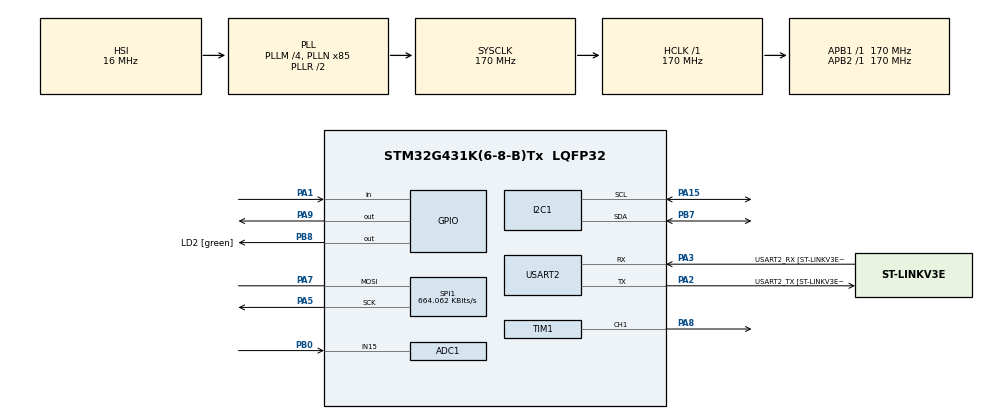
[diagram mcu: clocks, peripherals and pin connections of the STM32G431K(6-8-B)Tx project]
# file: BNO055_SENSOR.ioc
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ADC1.Channel-0\#ChannelRegularConversion=ADC_CHANNEL_15
ADC1.NbrOfConversionFlag=1
ADC1.OffsetNumber-0\#ChannelRegularConversion=ADC_OFFSET_NONE
ADC1.Rank-0\#ChannelRegularConversion=1
ADC1.SamplingTime-0\#ChannelRegularConversion=ADC_SAMPLETIME_2CYCLES_5
ADC1.master=1
I2C1.Speed=100
I2C1.Timing=0x30A0A7FB
Mcu.Family=STM32G4
Mcu.Name=STM32G431K(6-8-B)Tx
Mcu.Package=LQFP32
NVIC.PriorityGroup=NVIC_PRIORITYGROUP_4
PA1.Signal=GPIO_Input
PA13.GPIO_Label=T_SWDIO
PA13.Mode=Serial_Wire
PA13.Signal=SYS_JTMS-SWDIO
PA14.GPIO_Label=T_SWCLK
PA14.Mode=Serial_Wire
PA14.Signal=SYS_JTCK-SWCLK
PA15.GPIO_Pu=GPIO_NOPULL
PA15.Mode=I2C
PA15.Signal=I2C1_SCL
PA2.GPIO_Label=USART2_TX [ST-LINKV3E_VCP_RX]
PA2.Mode=Asynchronous
PA2.Signal=USART2_TX
PA3.GPIO_Label=USART2_RX [ST-LINKV3E_VCP_TX]
PA3.Mode=Asynchronous
PA3.Signal=USART2_RX
PA5.Mode=Simplex_Bidirectional_Master
PA5.Signal=SPI1_SCK
PA7.Mode=Simplex_Bidirectional_Master
PA7.Signal=SPI1_MOSI
PA8.Signal=S_TIM1_CH1
PA9.Signal=GPIO_Output
PB0.Mode=IN15-Single-Ended
PB0.Signal=ADC1_IN15
PB3.GPIO_Label=T_SWO
PB3.Signal=SYS_JTDO-SWO
PB7.Mode=I2C
PB7.Signal=I2C1_SDA
PB8-BOOT0.GPIO_Label=LD2 [green]
PB8-BOOT0.Signal=GPIO_Output
ProjectManager.HeapSize=0x200
ProjectManager.StackSize=0x400
ProjectManager.TargetToolchain=STM32CubeIDE
RCC.ADC12Freq_Value=170000000
RCC.AHBFreq_Value=170000000
RCC.APB1Freq_Value=170000000
RCC.APB1TimFreq_Value=170000000
RCC.APB2Freq_Value=170000000
RCC.APB2TimFreq_Value=170000000
RCC.CortexFreq_Value=170000000
RCC.EXTERNAL_CLOCK_VALUE=12288000
RCC.HCLKFreq_Value=170000000
RCC.HSE_VALUE=8000000
RCC.HSI48_VALUE=48000000
RCC.HSI_VALUE=16000000
RCC.LSE_VALUE=32768
RCC.PLLM=RCC_PLLM_DIV4
RCC.PLLN=85
RCC.SYSCLKFreq_VALUE=170000000
RCC.SYSCLKSource=RCC_SYSCLKSOURCE_PLLCLK
RCC.USBFreq_Value=170000000
RCC.VCOOutputFreq_Value=340000000
SH.S_TIM1_CH1.0=TIM1_CH1,PWM Generation1 CH1
SPI1.BaudRatePrescaler=SPI_BAUDRATEPRESCALER_256
SPI1.CalculateBaudRate=664.062 KBits/s
SPI1.DataSize=SPI_DATASIZE_8BIT
SPI1.Direction=SPI_DIRECTION_1LINE
SPI1.Mode=SPI_MODE_MASTER
SPI1.VirtualType=VM_MASTER
TIM1.Channel-PWM\ Generation1\ CH1=TIM_CHANNEL_1
TIM1.PeriodNoDither=1000
TIM2.Prescaler=1700
USART2.VirtualMode-Asynchronous=VM_ASYNC
USART2.WordLength=WORDLENGTH_8B
VP_TIM1_VS_ClockSourceINT.Mode=Internal
VP_TIM2_VS_ClockSourceINT.Mode=Internal
board=NUCLEO-G431KB

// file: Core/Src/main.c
/* USER CODE BEGIN Header */
/**
  ******************************************************************************
  * @file           : main.c
  * @brief          : Main program body
  ******************************************************************************
  * @attention
  *
  * Copyright (c) 2023 STMicroelectronics.
  * All rights reserved.
  *
  * This software is licensed under terms that can be found in the LICENSE file
  * in the root directory of this software component.
  * If no LICENSE file comes with this software, it is provided AS-IS.
  *
  ******************************************************************************
  */
/* USER CODE END Header */
#include "main.h"

/* USER CODE BEGIN Includes */
#include <string.h>
#include <stdio.h>
#include <math.h>
#include <stdlib.h>

/* USER CODE END Includes */

/* USER CODE BEGIN PD */
#define IIS2_ADDR 0x1E
#define OUTX_L 0x68
#define OUTY_L 0x6A
#define OUTZ_L 0x6C
#define CFG_REG_A 0x60
#define CFG_REG_B 0x61
#define CFG_REG_C 0x62

#define BNO055_ADDR 0x29<<1 // PULL ADR HIGH
#define BNO055_ACCEL_X 0x08
#define BNO055_ACCEL_Y 0x0a
#define BNO055_ACCEL_Z 0x0c
#define BNO055_MAG_X 0x0e
#define BNO055_MAG_Y 0x10
#define BNO055_MAG_Z 0x12
#define BNO055_GYRO_X 0x14
#define BNO055_GYRO_Y 0x16
#define BNO055_GYRO_Z 0x18
/* USER CODE END PD */

ADC_HandleTypeDef hadc1;

I2C_HandleTypeDef hi2c1;

SPI_HandleTypeDef hspi1;

TIM_HandleTypeDef htim1;
TIM_HandleTypeDef htim2;

UART_HandleTypeDef huart2;

void SystemClock_Config(void);
static void MX_GPIO_Init(void);
static void MX_USART2_UART_Init(void);
static void MX_I2C1_Init(void);
static void MX_ADC1_Init(void);
static void MX_TIM1_Init(void);
static void MX_TIM2_Init(void);
static void MX_SPI1_Init(void);
/* USER CODE BEGIN PFP */
void UART_PRINT_VAL(double value);
void UART_PRINT_TEXT(uint8_t* MSG);
void IIS2_INIT(void);
int IIS2_GET_DATA(uint8_t addr, uint16_t dataSize);
void MAGNETORQUER_SET_PWM(int val, int dir);
void BNO055_INIT(void);
int BNO055_GET_DATA(uint8_t addr, uint16_t dataSize);
/* USER CODE END PFP */

int main(void)
{

  /* MCU Configuration--------------------------------------------------------*/

  /* Reset of all peripherals, Initializes the Flash interface and the Systick. */
  HAL_Init();

  /* Configure the system clock */
  SystemClock_Config();

  /* Initialize all configured peripherals */
  MX_GPIO_Init();
  MX_USART2_UART_Init();
  MX_I2C1_Init();
  MX_ADC1_Init();
  MX_TIM1_Init();
  MX_TIM2_Init();
  MX_SPI1_Init();
  /* USER CODE BEGIN 2 */
  	int pwm_val = 500;
  	uint32_t adc1_val;
  	double adc1_value;

  	int xMag = 0;
  	int yMag = 0;
  	int zMag = 0;
  	double xMagRef = 0;
  	double yMagRef = 0;
  	double zMagRef = 0;

  	int BNOxAccel = 0;
  	int BNOyAccel = 0;
  	int BNOzAccel = 0;
  	int BNOxMag = 0;
  	int BNOyMag = 0;
  	int BNOzMag = 0;
  	int BNOxGyro = 0;
  	int BNOyGyro = 0;
  	int BNOzGyro = 0;
  	double BNOxAccelRef = 0;
  	double BNOyAccelRef = 0;
  	double BNOzAccelRef = 0;
  	double BNOxMagRef = 0;
  	double BNOyMagRef = 0;
  	double BNOzMagRef = 0;
  	double BNOxGyroRef = 0;
  	double BNOyGyroRef = 0;
  	double BNOzGyroRef = 0;

  	HAL_TIM_PWM_Start(&htim1, TIM_CHANNEL_1);
  	TIM1->CCR1 = 500;
  	HAL_TIM_Base_Start(&htim2);

  	//IIS2_INIT();
  	BNO055_INIT();

  	int counter = 0;

  	int excessTime = 0;
  	double currentTime = 0;

  	double IPROPI_res_value = 50;
  /* USER CODE END 2 */

  /* Infinite loop */
  /* USER CODE BEGIN WHILE */
  while (1)
  {
	  BNO055_INIT();
	  BNOxAccel = BNO055_GET_DATA(BNO055_ACCEL_X, 2);
	  BNOyAccel = BNO055_GET_DATA(BNO055_ACCEL_Y, 2);
	  BNOzAccel = BNO055_GET_DATA(BNO055_ACCEL_Z, 2);
	  BNOxMag = BNO055_GET_DATA(BNO055_MAG_X, 2);
	  BNOyMag = BNO055_GET_DATA(BNO055_MAG_Y, 2);
	  BNOzMag = BNO055_GET_DATA(BNO055_MAG_Z, 2);
	  BNOxGyro = BNO055_GET_DATA(BNO055_GYRO_X, 2);
	  BNOyGyro = BNO055_GET_DATA(BNO055_GYRO_Y, 2);
	  BNOzGyro = BNO055_GET_DATA(BNO055_GYRO_Z, 2);
	  BNOxAccelRef = BNOxAccel;
	  BNOyAccelRef = BNOyAccel;
	  BNOzAccelRef = BNOzAccel;
	  BNOxMagRef = BNOxMag;
	  BNOyMagRef = BNOyMag;
	  BNOzMagRef = BNOzMag;
	  BNOxGyroRef = BNOxGyro;
	  BNOyGyroRef = BNOyGyro;
	  BNOzGyroRef = BNOzGyro;
	  UART_PRINT_TEXT("Accelerometer: (");
	  UART_PRINT_VAL(BNOxAccelRef);
	  UART_PRINT_TEXT(", ");
	  UART_PRINT_VAL(BNOyAccelRef);
	  UART_PRINT_TEXT(", ");
	  UART_PRINT_VAL(BNOzAccelRef);
	  UART_PRINT_TEXT(" )\nMagnetometer: (");
	  UART_PRINT_VAL(BNOxMagRef);
	  UART_PRINT_TEXT(", ");
	  UART_PRINT_VAL(BNOyMagRef);
	  UART_PRINT_TEXT(", ");
	  UART_PRINT_VAL(BNOzMagRef);
	  UART_PRINT_TEXT(" )\nGyro: (");
	  UART_PRINT_VAL(BNOxGyroRef);
	  UART_PRINT_TEXT(", ");
	  UART_PRINT_VAL(BNOyGyroRef);
	  UART_PRINT_TEXT(", ");
	  UART_PRINT_VAL(BNOzGyroRef);
	  UART_PRINT_TEXT(" )\n");
	  HAL_Delay(100);

    /* USER CODE END WHILE */

  }
}

void SystemClock_Config(void)
{
  RCC_OscInitTypeDef RCC_OscInitStruct = {0};
  RCC_ClkInitTypeDef RCC_ClkInitStruct = {0};

  /** Configure the main internal regulator output voltage
  */
  HAL_PWREx_ControlVoltageScaling(PWR_REGULATOR_VOLTAGE_SCALE1_BOOST);

  /** Initializes the RCC Oscillators according to the specified parameters
  * in the RCC_OscInitTypeDef structure.
  */
  RCC_OscInitStruct.OscillatorType = RCC_OSCILLATORTYPE_HSI;
  RCC_OscInitStruct.HSIState = RCC_HSI_ON;
  RCC_OscInitStruct.HSICalibrationValue = RCC_HSICALIBRATION_DEFAULT;
  RCC_OscInitStruct.PLL.PLLState = RCC_PLL_ON;
  RCC_OscInitStruct.PLL.PLLSource = RCC_PLLSOURCE_HSI;
  RCC_OscInitStruct.PLL.PLLM = RCC_PLLM_DIV4;
  RCC_OscInitStruct.PLL.PLLN = 85;
  RCC_OscInitStruct.PLL.PLLP = RCC_PLLP_DIV2;
  RCC_OscInitStruct.PLL.PLLQ = RCC_PLLQ_DIV2;
  RCC_OscInitStruct.PLL.PLLR = RCC_PLLR_DIV2;
  if (HAL_RCC_OscConfig(&RCC_OscInitStruct) != HAL_OK)
  {
    Error_Handler();
  }

  /** Initializes the CPU, AHB and APB buses clocks
  */
  RCC_ClkInitStruct.ClockType = RCC_CLOCKTYPE_HCLK|RCC_CLOCKTYPE_SYSCLK
                              |RCC_CLOCKTYPE_PCLK1|RCC_CLOCKTYPE_PCLK2;
  RCC_ClkInitStruct.SYSCLKSource = RCC_SYSCLKSOURCE_PLLCLK;
  RCC_ClkInitStruct.AHBCLKDivider = RCC_SYSCLK_DIV1;
  RCC_ClkInitStruct.APB1CLKDivider = RCC_HCLK_DIV1;
  RCC_ClkInitStruct.APB2CLKDivider = RCC_HCLK_DIV1;

  if (HAL_RCC_ClockConfig(&RCC_ClkInitStruct, FLASH_LATENCY_4) != HAL_OK)
  {
    Error_Handler();
  }
}

static void MX_ADC1_Init(void)
{

  ADC_MultiModeTypeDef multimode = {0};
  ADC_ChannelConfTypeDef sConfig = {0};

  /** Common config
  */
  hadc1.Instance = ADC1;
  hadc1.Init.ClockPrescaler = ADC_CLOCK_SYNC_PCLK_DIV4;
  hadc1.Init.Resolution = ADC_RESOLUTION_12B;
  hadc1.Init.DataAlign = ADC_DATAALIGN_RIGHT;
  hadc1.Init.GainCompensation = 0;
  hadc1.Init.ScanConvMode = ADC_SCAN_DISABLE;
  hadc1.Init.EOCSelection = ADC_EOC_SINGLE_CONV;
  hadc1.Init.LowPowerAutoWait = DISABLE;
  hadc1.Init.ContinuousConvMode = DISABLE;
  hadc1.Init.NbrOfConversion = 1;
  hadc1.Init.DiscontinuousConvMode = DISABLE;
  hadc1.Init.ExternalTrigConv = ADC_SOFTWARE_START;
  hadc1.Init.ExternalTrigConvEdge = ADC_EXTERNALTRIGCONVEDGE_NONE;
  hadc1.Init.DMAContinuousRequests = DISABLE;
  hadc1.Init.Overrun = ADC_OVR_DATA_PRESERVED;
  hadc1.Init.OversamplingMode = DISABLE;
  if (HAL_ADC_Init(&hadc1) != HAL_OK)
  {
    Error_Handler();
  }

  /** Configure the ADC multi-mode
  */
  multimode.Mode = ADC_MODE_INDEPENDENT;
  if (HAL_ADCEx_MultiModeConfigChannel(&hadc1, &multimode) != HAL_OK)
  {
    Error_Handler();
  }

  /** Configure Regular Channel
  */
  sConfig.Channel = ADC_CHANNEL_15;
  sConfig.Rank = ADC_REGULAR_RANK_1;
  sConfig.SamplingTime = ADC_SAMPLETIME_2CYCLES_5;
  sConfig.SingleDiff = ADC_SINGLE_ENDED;
  sConfig.OffsetNumber = ADC_OFFSET_NONE;
  sConfig.Offset = 0;
  if (HAL_ADC_ConfigChannel(&hadc1, &sConfig) != HAL_OK)
  {
    Error_Handler();
  }

}

static void MX_I2C1_Init(void)
{

  hi2c1.Instance = I2C1;
  hi2c1.Init.Timing = 0x30A0A7FB;
  hi2c1.Init.OwnAddress1 = 0;
  hi2c1.Init.AddressingMode = I2C_ADDRESSINGMODE_7BIT;
  hi2c1.Init.DualAddressMode = I2C_DUALADDRESS_DISABLE;
  hi2c1.Init.OwnAddress2 = 0;
  hi2c1.Init.OwnAddress2Masks = I2C_OA2_NOMASK;
  hi2c1.Init.GeneralCallMode = I2C_GENERALCALL_DISABLE;
  hi2c1.Init.NoStretchMode = I2C_NOSTRETCH_DISABLE;
  if (HAL_I2C_Init(&hi2c1) != HAL_OK)
  {
    Error_Handler();
  }

  /** Configure Analogue filter
  */
  if (HAL_I2CEx_ConfigAnalogFilter(&hi2c1, I2C_ANALOGFILTER_ENABLE) != HAL_OK)
  {
    Error_Handler();
  }

  /** Configure Digital filter
  */
  if (HAL_I2CEx_ConfigDigitalFilter(&hi2c1, 0) != HAL_OK)
  {
    Error_Handler();
  }

}

static void MX_SPI1_Init(void)
{

  /* SPI1 parameter configuration*/
  hspi1.Instance = SPI1;
  hspi1.Init.Mode = SPI_MODE_MASTER;
  hspi1.Init.Direction = SPI_DIRECTION_1LINE;
  hspi1.Init.DataSize = SPI_DATASIZE_8BIT;
  hspi1.Init.CLKPolarity = SPI_POLARITY_LOW;
  hspi1.Init.CLKPhase = SPI_PHASE_1EDGE;
  hspi1.Init.NSS = SPI_NSS_SOFT;
  hspi1.Init.BaudRatePrescaler = SPI_BAUDRATEPRESCALER_256;
  hspi1.Init.FirstBit = SPI_FIRSTBIT_MSB;
  hspi1.Init.TIMode = SPI_TIMODE_DISABLE;
  hspi1.Init.CRCCalculation = SPI_CRCCALCULATION_DISABLE;
  hspi1.Init.CRCPolynomial = 7;
  hspi1.Init.CRCLength = SPI_CRC_LENGTH_DATASIZE;
  hspi1.Init.NSSPMode = SPI_NSS_PULSE_ENABLE;
  if (HAL_SPI_Init(&hspi1) != HAL_OK)
  {
    Error_Handler();
  }

}

static void MX_TIM1_Init(void)
{

  TIM_ClockConfigTypeDef sClockSourceConfig = {0};
  TIM_MasterConfigTypeDef sMasterConfig = {0};
  TIM_OC_InitTypeDef sConfigOC = {0};
  TIM_BreakDeadTimeConfigTypeDef sBreakDeadTimeConfig = {0};

  htim1.Instance = TIM1;
  htim1.Init.Prescaler = 0;
  htim1.Init.CounterMode = TIM_COUNTERMODE_UP;
  htim1.Init.Period = 1000;
  htim1.Init.ClockDivision = TIM_CLOCKDIVISION_DIV1;
  htim1.Init.RepetitionCounter = 0;
  htim1.Init.AutoReloadPreload = TIM_AUTORELOAD_PRELOAD_DISABLE;
  if (HAL_TIM_Base_Init(&htim1) != HAL_OK)
  {
    Error_Handler();
  }
  sClockSourceConfig.ClockSource = TIM_CLOCKSOURCE_INTERNAL;
  if (HAL_TIM_ConfigClockSource(&htim1, &sClockSourceConfig) != HAL_OK)
  {
    Error_Handler();
  }
  if (HAL_TIM_PWM_Init(&htim1) != HAL_OK)
  {
    Error_Handler();
  }
  sMasterConfig.MasterOutputTrigger = TIM_TRGO_RESET;
  sMasterConfig.MasterOutputTrigger2 = TIM_TRGO2_RESET;
  sMasterConfig.MasterSlaveMode = TIM_MASTERSLAVEMODE_DISABLE;
  if (HAL_TIMEx_MasterConfigSynchronization(&htim1, &sMasterConfig) != HAL_OK)
  {
    Error_Handler();
  }
  sConfigOC.OCMode = TIM_OCMODE_PWM1;
  sConfigOC.Pulse = 0;
  sConfigOC.OCPolarity = TIM_OCPOLARITY_HIGH;
  sConfigOC.OCNPolarity = TIM_OCNPOLARITY_HIGH;
  sConfigOC.OCFastMode = TIM_OCFAST_DISABLE;
  sConfigOC.OCIdleState = TIM_OCIDLESTATE_RESET;
  sConfigOC.OCNIdleState = TIM_OCNIDLESTATE_RESET;
  if (HAL_TIM_PWM_ConfigChannel(&htim1, &sConfigOC, TIM_CHANNEL_1) != HAL_OK)
  {
    Error_Handler();
  }
  sBreakDeadTimeConfig.OffStateRunMode = TIM_OSSR_DISABLE;
  sBreakDeadTimeConfig.OffStateIDLEMode = TIM_OSSI_DISABLE;
  sBreakDeadTimeConfig.LockLevel = TIM_LOCKLEVEL_OFF;
  sBreakDeadTimeConfig.DeadTime = 0;
  sBreakDeadTimeConfig.BreakState = TIM_BREAK_DISABLE;
  sBreakDeadTimeConfig.BreakPolarity = TIM_BREAKPOLARITY_HIGH;
  sBreakDeadTimeConfig.BreakFilter = 0;
  sBreakDeadTimeConfig.BreakAFMode = TIM_BREAK_AFMODE_INPUT;
  sBreakDeadTimeConfig.Break2State = TIM_BREAK2_DISABLE;
  sBreakDeadTimeConfig.Break2Polarity = TIM_BREAK2POLARITY_HIGH;
  sBreakDeadTimeConfig.Break2Filter = 0;
  sBreakDeadTimeConfig.Break2AFMode = TIM_BREAK_AFMODE_INPUT;
  sBreakDeadTimeConfig.AutomaticOutput = TIM_AUTOMATICOUTPUT_DISABLE;
  if (HAL_TIMEx_ConfigBreakDeadTime(&htim1, &sBreakDeadTimeConfig) != HAL_OK)
  {
    Error_Handler();
  }
  HAL_TIM_MspPostInit(&htim1);

}

static void MX_TIM2_Init(void)
{

  TIM_ClockConfigTypeDef sClockSourceConfig = {0};
  TIM_MasterConfigTypeDef sMasterConfig = {0};

  htim2.Instance = TIM2;
  htim2.Init.Prescaler = 1700;
  htim2.Init.CounterMode = TIM_COUNTERMODE_UP;
  htim2.Init.Period = 4.294967295E9;
  htim2.Init.ClockDivision = TIM_CLOCKDIVISION_DIV1;
  htim2.Init.AutoReloadPreload = TIM_AUTORELOAD_PRELOAD_DISABLE;
  if (HAL_TIM_Base_Init(&htim2) != HAL_OK)
  {
    Error_Handler();
  }
  sClockSourceConfig.ClockSource = TIM_CLOCKSOURCE_INTERNAL;
  if (HAL_TIM_ConfigClockSource(&htim2, &sClockSourceConfig) != HAL_OK)
  {
    Error_Handler();
  }
  sMasterConfig.MasterOutputTrigger = TIM_TRGO_RESET;
  sMasterConfig.MasterSlaveMode = TIM_MASTERSLAVEMODE_DISABLE;
  if (HAL_TIMEx_MasterConfigSynchronization(&htim2, &sMasterConfig) != HAL_OK)
  {
    Error_Handler();
  }

}

static void MX_USART2_UART_Init(void)
{

  huart2.Instance = USART2;
  huart2.Init.BaudRate = 115200;
  huart2.Init.WordLength = UART_WORDLENGTH_8B;
  huart2.Init.StopBits = UART_STOPBITS_1;
  huart2.Init.Parity = UART_PARITY_NONE;
  huart2.Init.Mode = UART_MODE_TX_RX;
  huart2.Init.HwFlowCtl = UART_HWCONTROL_NONE;
  huart2.Init.OverSampling = UART_OVERSAMPLING_16;
  huart2.Init.OneBitSampling = UART_ONE_BIT_SAMPLE_DISABLE;
  huart2.Init.ClockPrescaler = UART_PRESCALER_DIV1;
  huart2.AdvancedInit.AdvFeatureInit = UART_ADVFEATURE_NO_INIT;
  if (HAL_UART_Init(&huart2) != HAL_OK)
  {
    Error_Handler();
  }
  if (HAL_UARTEx_SetTxFifoThreshold(&huart2, UART_TXFIFO_THRESHOLD_1_8) != HAL_OK)
  {
    Error_Handler();
  }
  if (HAL_UARTEx_SetRxFifoThreshold(&huart2, UART_RXFIFO_THRESHOLD_1_8) != HAL_OK)
  {
    Error_Handler();
  }
  if (HAL_UARTEx_DisableFifoMode(&huart2) != HAL_OK)
  {
    Error_Handler();
  }

}

static void MX_GPIO_Init(void)
{
  GPIO_InitTypeDef GPIO_InitStruct = {0};

  /* GPIO Ports Clock Enable */
  __HAL_RCC_GPIOA_CLK_ENABLE();
  __HAL_RCC_GPIOB_CLK_ENABLE();

  /*Configure GPIO pin Output Level */
  HAL_GPIO_WritePin(GPIOA, GPIO_PIN_9, GPIO_PIN_RESET);

  /*Configure GPIO pin Output Level */
  HAL_GPIO_WritePin(LD2_GPIO_Port, LD2_Pin, GPIO_PIN_RESET);

  /*Configure GPIO pin : PA1 */
  GPIO_InitStruct.Pin = GPIO_PIN_1;
  GPIO_InitStruct.Mode = GPIO_MODE_INPUT;
  GPIO_InitStruct.Pull = GPIO_NOPULL;
  HAL_GPIO_Init(GPIOA, &GPIO_InitStruct);

  /*Configure GPIO pin : PA9 */
  GPIO_InitStruct.Pin = GPIO_PIN_9;
  GPIO_InitStruct.Mode = GPIO_MODE_OUTPUT_PP;
  GPIO_InitStruct.Pull = GPIO_NOPULL;
  GPIO_InitStruct.Speed = GPIO_SPEED_FREQ_LOW;
  HAL_GPIO_Init(GPIOA, &GPIO_InitStruct);

  /*Configure GPIO pin : LD2_Pin */
  GPIO_InitStruct.Pin = LD2_Pin;
  GPIO_InitStruct.Mode = GPIO_MODE_OUTPUT_PP;
  GPIO_InitStruct.Pull = GPIO_NOPULL;
  GPIO_InitStruct.Speed = GPIO_SPEED_FREQ_LOW;
  HAL_GPIO_Init(LD2_GPIO_Port, &GPIO_InitStruct);

}

/* USER CODE BEGIN 4 */
void UART_PRINT_VAL(double value){
    char total[50];
    char temp[10];
    if(value < 0){
       UART_PRINT_TEXT("-");
    }
    sprintf(total, "%i", abs((int)value));
    strcat(total, ".");
    double currentVal = (value - (int) value);
    for(int a=0;a<6;a++){
        currentVal *= 10;
        sprintf(temp, "%i", abs((int)currentVal));
        strcat(total, temp);
        currentVal -= (int)currentVal;
    }
    HAL_UART_Transmit(&huart2, total, strlen(total), 100);
}
void UART_PRINT_TEXT(uint8_t* MSG){
	HAL_UART_Transmit(&huart2, MSG, strlen(MSG), 100);
}
void MAGNETORQUER_SET_PWM(int val, int dir){
	if(dir){
		HAL_GPIO_WritePin(GPIOA, GPIO_PIN_9, GPIO_PIN_SET);
	}
	else{
		HAL_GPIO_WritePin(GPIOA, GPIO_PIN_9, GPIO_PIN_RESET);
	}
	__HAL_TIM_SET_COMPARE(&htim1, TIM_CHANNEL_1, val);
}
void IIS2_INIT(void){
	//uint8_t data[3] = {0x8C, 0x01, 0x01}; // OPERATION MODE, TEM COMP 100Hz CONTINUOUS MODE, ENABLE LPF, DATA READY INT
	uint8_t data1[2] = {CFG_REG_A, 0x8c};
	uint8_t data2[2] = {CFG_REG_B, 0x01};
	uint8_t data3[2] = {CFG_REG_C, 0x21};
	HAL_GPIO_WritePin(GPIOA, GPIO_PIN_6, GPIO_PIN_RESET);
	HAL_SPI_Transmit(&hspi1, data1, 2, 100); // TEMP COMP, 100Hz, CONTINUOUS MODE
	HAL_SPI_Transmit(&hspi1, data2, 2, 100); // ENABLE LPF
	HAL_SPI_Transmit(&hspi1, data3, 2, 100); // DATA READY INT, DISABLE I2C
	HAL_GPIO_WritePin(GPIOA, GPIO_PIN_6, GPIO_PIN_SET);
}
int IIS2_GET_DATA(uint8_t addr, uint16_t dataSize){
	int val = 0;
	uint16_t value = 0;
	uint8_t sendData[1] = {0x80 | addr};
	uint8_t receiveData[2];
	HAL_GPIO_WritePin(GPIOA, GPIO_PIN_6, GPIO_PIN_RESET);
	HAL_SPI_Transmit(&hspi1, sendData, 1, 100);
	HAL_SPI_Receive(&hspi1, receiveData, 2, 100);
	HAL_GPIO_WritePin(GPIOA, GPIO_PIN_6, GPIO_PIN_SET);
	value = (receiveData[1] << 8 | receiveData[0]);
	if(value > 0x7fff){
		value = value - 0x01;
		value = ~value;
		val = -value;
	}
	else{
		val = value;
	}
	return val;
}
void BNO055_INIT(void){
	HAL_I2C_Mem_Write(&hi2c1, BNO055_ADDR, 0x3D, 1, 0x07, 1, 100); //OPR_MODE = AMG (turn on all sensors)
}
int BNO055_GET_DATA(uint8_t addr, uint16_t dataSize){
	int val = 0;
	uint16_t value = 0;
	uint8_t receiveData[dataSize];
	HAL_I2C_Mem_Read(&hi2c1, BNO055_ADDR, addr, 1, receiveData, dataSize, 100);
	value = (receiveData[1] << 8 | receiveData[0]);
	if(value > 0x7fff){
		value = value - 0x01;
		value = ~value;
		val = -value;
	}
	else{
		val = value;
	}
	return val;
}
/* USER CODE END 4 */

void Error_Handler(void)
{
  __disable_irq();
  while (1)
  {
  }
}
